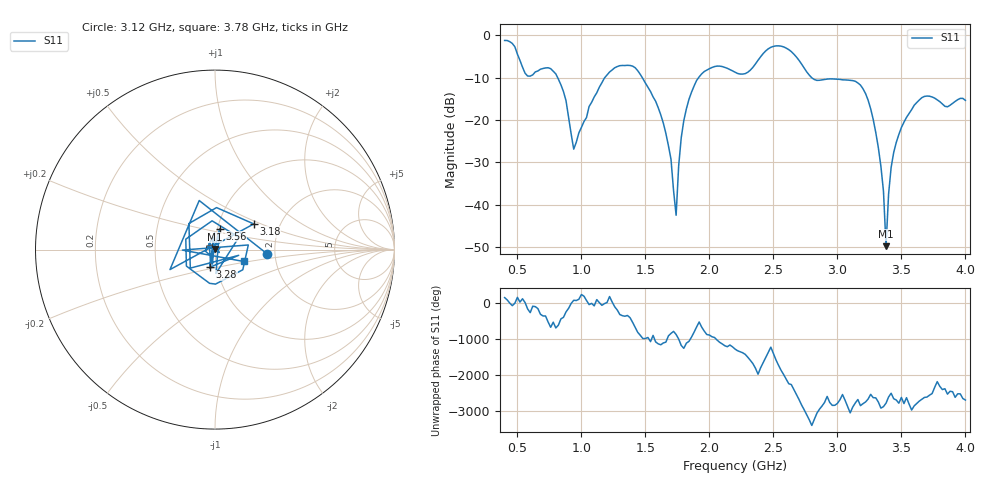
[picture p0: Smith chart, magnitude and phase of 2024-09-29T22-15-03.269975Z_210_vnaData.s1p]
!Created with skrf (http://scikit-rf.org).
# Hz S RI R 50.0
!freq ReS11 ImS11
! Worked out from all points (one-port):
!   181 points, 400 MHz to 4 GHz, reference 50 ohm
!   lowest |S11| = -49.8 dB at 3.38 GHz (marker M1), VSWR 1.01, Z = 49.9 + j0.317 ohm
!   |S11| at or under -10 dB: 814.7 MHz to 1.182 GHz (367.1 MHz wide, 36.8 % of centre); 1.476 GHz to 1.915 GHz (439 MHz wide, 25.9 % of centre); 2.799 GHz to end of sweep
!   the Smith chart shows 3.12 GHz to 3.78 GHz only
!   S11 on the Smith chart (normalised r, x): 3.12 GHz: 1.82, -0.10; 3.18 GHz: 1.47, +0.45; 3.28 GHz: 0.93, -0.18; 3.56 GHz: 1.02, +0.24; 3.78 GHz: 1.37, -0.19
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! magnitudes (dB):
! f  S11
! 400 MHz  -1.2
! 580 MHz  -9.6
! 760 MHz  -7.9
! 860 MHz  -13.3
! 940 MHz  -26.9
! 1.14 GHz  -12.2
! 1.3 GHz  -7.1
! 1.42 GHz  -7.6
! 1.6 GHz  -17.1
! 1.7 GHz  -29.3
! 1.74 GHz  -42.5
! 1.76 GHz  -30.8
! 1.8 GHz  -20.1
! 1.9 GHz  -10.6
! 2.2 GHz  -8.7
! 2.66 GHz  -4.4
! 2.82 GHz  -10.4
! 3.1 GHz  -10.6
! 3.12 GHz  -10.7
! 3.18 GHz  -11.7
! 3.28 GHz  -19.9
! 3.36 GHz  -36.8
! 3.38 GHz  -49.8
! 3.4 GHz  -37.5
! 3.44 GHz  -27.6
! 3.56 GHz  -18.4
! 3.78 GHz  -15.2
! 4 GHz  -15.3
